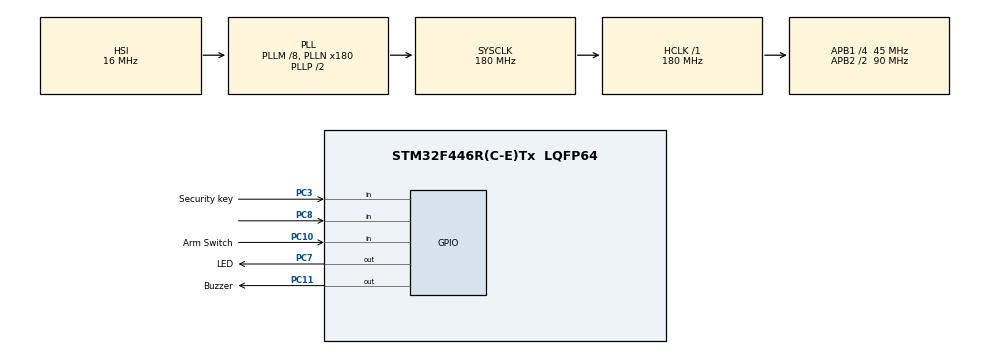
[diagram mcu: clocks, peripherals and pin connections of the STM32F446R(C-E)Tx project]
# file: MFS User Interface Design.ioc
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Mcu.Family=STM32F4
Mcu.Name=STM32F446R(C-E)Tx
Mcu.Package=LQFP64
NVIC.PriorityGroup=NVIC_PRIORITYGROUP_4
PA13.Mode=Serial_Wire
PA13.Signal=SYS_JTMS-SWDIO
PA14.Mode=Serial_Wire
PA14.Signal=SYS_JTCK-SWCLK
PC10.GPIO_Label=Arm Switch
PC10.GPIO_PuPd=GPIO_PULLDOWN
PC10.Signal=GPIO_Input
PC11.GPIO_Label=Buzzer
PC11.GPIO_ModeDefaultOutputPP=GPIO_MODE_OUTPUT_PP
PC11.GPIO_PuPd=GPIO_PULLDOWN
PC11.Signal=GPIO_Output
PC3.GPIO_Label=Security key
PC3.GPIO_PuPd=GPIO_PULLDOWN
PC3.Signal=GPIO_Input
PC7.GPIO_Label=LED
PC7.GPIO_ModeDefaultOutputPP=GPIO_MODE_OUTPUT_PP
PC7.GPIO_PuPd=GPIO_PULLUP
PC7.GPIO_Speed=GPIO_SPEED_FREQ_LOW
PC7.PinState=GPIO_PIN_SET
PC7.Signal=GPIO_Output
PC8.GPIO_PuPd=GPIO_PULLDOWN
PC8.Signal=GPIO_Input
ProjectManager.HeapSize=0x200
ProjectManager.StackSize=0x400
ProjectManager.TargetToolchain=STM32CubeIDE
RCC.AHBFreq_Value=180000000
RCC.APB1CLKDivider=RCC_HCLK_DIV4
RCC.APB1Freq_Value=45000000
RCC.APB1TimFreq_Value=90000000
RCC.APB2CLKDivider=RCC_HCLK_DIV2
RCC.APB2Freq_Value=90000000
RCC.APB2TimFreq_Value=180000000
RCC.CortexFreq_Value=180000000
RCC.HCLKFreq_Value=180000000
RCC.PLLM=8
RCC.PLLN=180
RCC.SYSCLKFreq_VALUE=180000000
RCC.SYSCLKSource=RCC_SYSCLKSOURCE_PLLCLK
RCC.USBFreq_Value=180000000
RCC.VCOOutputFreq_Value=360000000
board=custom

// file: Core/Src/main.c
/* USER CODE BEGIN Header */
/**
 ******************************************************************************
 * @file           : main.c
 * @brief          : Main program body
 ******************************************************************************
 * @attention
 *
 * Copyright (c) 2023 STMicroelectronics.
 * All rights reserved.
 *
 * This software is licensed under terms that can be found in the LICENSE file
 * in the root directory of this software component.
 * If no LICENSE file comes with this software, it is provided AS-IS.
 *
 ******************************************************************************
 */
/* USER CODE END Header */
#include "main.h"

/* USER CODE BEGIN Includes */
#include<stdbool.h>
#include<stdlib.h>
/* USER CODE END Includes */

void SystemClock_Config(void);
static void MX_GPIO_Init(void);

/* USER CODE BEGIN 0 */
bool Sec_key = 0, Arm_switch = 0, Ign_switch = 0;
bool seq_flag = 0;
bool ignition = 0;
void seq_check()
	{
		if(HAL_GPIO_ReadPin(GPIOC, GPIO_PIN_3) == 0 && HAL_GPIO_ReadPin(GPIOC, GPIO_PIN_10)== 0 && HAL_GPIO_ReadPin(GPIOC, GPIO_PIN_8) == 0) seq_flag = 1;
		else if(Sec_key==0 && HAL_GPIO_ReadPin(GPIOC, GPIO_PIN_10) == 1) seq_flag=0;

	}

/* USER CODE END 0 */

int main(void)
{

  /* MCU Configuration--------------------------------------------------------*/

  /* Reset of all peripherals, Initializes the Flash interface and the Systick. */
  HAL_Init();

  /* Configure the system clock */
  SystemClock_Config();

  /* Initialize all configured peripherals */
  MX_GPIO_Init();

  /* Infinite loop */
  /* USER CODE BEGIN WHILE */
	while (1)
	{
		seq_check();
		if(seq_flag ==1){

			if(HAL_GPIO_ReadPin(GPIOC, GPIO_PIN_3) == 1 || Sec_key == 1)
			{
				Sec_key=1;

				if(HAL_GPIO_ReadPin(GPIOC, GPIO_PIN_3) == 0 && Arm_switch == 0  ) {
					Sec_key = 0; // Notify the user to reset the inputs
					seq_flag = 0;
					Arm_switch = 0;
					Ign_switch = 0;
				}

				else{
					if(HAL_GPIO_ReadPin(GPIOC, GPIO_PIN_10)== 1 || Arm_switch == 1 ){
						Arm_switch = 1;

						if(HAL_GPIO_ReadPin(GPIOC, GPIO_PIN_10) == 0) Arm_switch = 0;

						if(HAL_GPIO_ReadPin(GPIOC, GPIO_PIN_8) == 1 || Ign_switch == 1 ){
							HAL_Delay(5000);
							if(HAL_GPIO_ReadPin(GPIOC, GPIO_PIN_8) == 1) {
								Ign_switch = 1;
								HAL_GPIO_WritePin(GPIOC, GPIO_PIN_11,1);
								HAL_GPIO_WritePin(GPIOC, GPIO_PIN_7,0);
							HAL_Delay(2000);
							HAL_GPIO_WritePin(GPIOC, GPIO_PIN_7,1);
							HAL_GPIO_WritePin(GPIOC, GPIO_PIN_11,0);

							}
							else
							{
								Sec_key=0;
								Arm_switch = 0;
								seq_flag = 0;
							}

						}
					}
				}
			}

		}
    /* USER CODE END WHILE */

	}
}

void SystemClock_Config(void)
{
  RCC_OscInitTypeDef RCC_OscInitStruct = {0};
  RCC_ClkInitTypeDef RCC_ClkInitStruct = {0};

  /** Configure the main internal regulator output voltage
  */
  __HAL_RCC_PWR_CLK_ENABLE();
  __HAL_PWR_VOLTAGESCALING_CONFIG(PWR_REGULATOR_VOLTAGE_SCALE1);
  /** Initializes the RCC Oscillators according to the specified parameters
  * in the RCC_OscInitTypeDef structure.
  */
  RCC_OscInitStruct.OscillatorType = RCC_OSCILLATORTYPE_HSI;
  RCC_OscInitStruct.HSIState = RCC_HSI_ON;
  RCC_OscInitStruct.HSICalibrationValue = RCC_HSICALIBRATION_DEFAULT;
  RCC_OscInitStruct.PLL.PLLState = RCC_PLL_ON;
  RCC_OscInitStruct.PLL.PLLSource = RCC_PLLSOURCE_HSI;
  RCC_OscInitStruct.PLL.PLLM = 8;
  RCC_OscInitStruct.PLL.PLLN = 180;
  RCC_OscInitStruct.PLL.PLLP = RCC_PLLP_DIV2;
  RCC_OscInitStruct.PLL.PLLQ = 2;
  RCC_OscInitStruct.PLL.PLLR = 2;
  if (HAL_RCC_OscConfig(&RCC_OscInitStruct) != HAL_OK)
  {
    Error_Handler();
  }
  /** Activate the Over-Drive mode
  */
  if (HAL_PWREx_EnableOverDrive() != HAL_OK)
  {
    Error_Handler();
  }
  /** Initializes the CPU, AHB and APB buses clocks
  */
  RCC_ClkInitStruct.ClockType = RCC_CLOCKTYPE_HCLK|RCC_CLOCKTYPE_SYSCLK
                              |RCC_CLOCKTYPE_PCLK1|RCC_CLOCKTYPE_PCLK2;
  RCC_ClkInitStruct.SYSCLKSource = RCC_SYSCLKSOURCE_PLLCLK;
  RCC_ClkInitStruct.AHBCLKDivider = RCC_SYSCLK_DIV1;
  RCC_ClkInitStruct.APB1CLKDivider = RCC_HCLK_DIV4;
  RCC_ClkInitStruct.APB2CLKDivider = RCC_HCLK_DIV2;

  if (HAL_RCC_ClockConfig(&RCC_ClkInitStruct, FLASH_LATENCY_5) != HAL_OK)
  {
    Error_Handler();
  }
}

static void MX_GPIO_Init(void)
{
  GPIO_InitTypeDef GPIO_InitStruct = {0};

  /* GPIO Ports Clock Enable */
  __HAL_RCC_GPIOC_CLK_ENABLE();
  __HAL_RCC_GPIOA_CLK_ENABLE();

  /*Configure GPIO pin Output Level */
  HAL_GPIO_WritePin(LED_GPIO_Port, LED_Pin, GPIO_PIN_SET);

  /*Configure GPIO pin Output Level */
  HAL_GPIO_WritePin(Buzzer_GPIO_Port, Buzzer_Pin, GPIO_PIN_RESET);

  /*Configure GPIO pins : Security_key_Pin PC8 Arm_Switch_Pin */
  GPIO_InitStruct.Pin = Security_key_Pin|GPIO_PIN_8|Arm_Switch_Pin;
  GPIO_InitStruct.Mode = GPIO_MODE_INPUT;
  GPIO_InitStruct.Pull = GPIO_PULLDOWN;
  HAL_GPIO_Init(GPIOC, &GPIO_InitStruct);

  /*Configure GPIO pin : LED_Pin */
  GPIO_InitStruct.Pin = LED_Pin;
  GPIO_InitStruct.Mode = GPIO_MODE_OUTPUT_PP;
  GPIO_InitStruct.Pull = GPIO_PULLUP;
  GPIO_InitStruct.Speed = GPIO_SPEED_FREQ_LOW;
  HAL_GPIO_Init(LED_GPIO_Port, &GPIO_InitStruct);

  /*Configure GPIO pin : Buzzer_Pin */
  GPIO_InitStruct.Pin = Buzzer_Pin;
  GPIO_InitStruct.Mode = GPIO_MODE_OUTPUT_PP;
  GPIO_InitStruct.Pull = GPIO_PULLDOWN;
  GPIO_InitStruct.Speed = GPIO_SPEED_FREQ_LOW;
  HAL_GPIO_Init(Buzzer_GPIO_Port, &GPIO_InitStruct);

}

void Error_Handler(void)
{
	__disable_irq();
	while (1)
	{
	}
}
